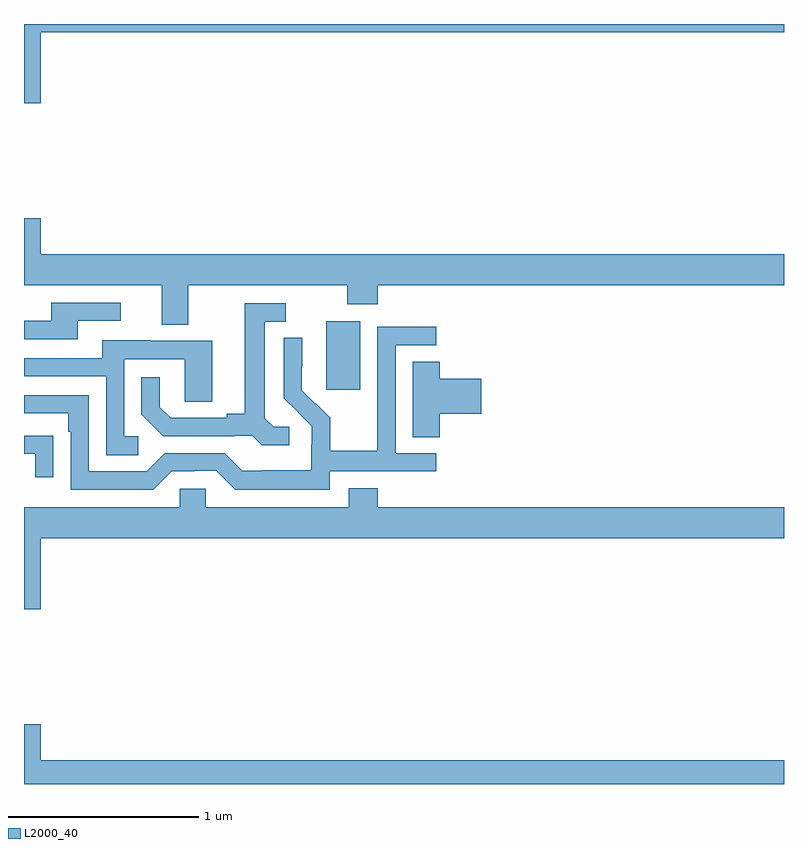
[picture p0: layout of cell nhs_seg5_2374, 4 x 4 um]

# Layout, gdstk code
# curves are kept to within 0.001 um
import gdstk
lib = gdstk.Library(unit=1e-6, precision=1e-09)
def R(c, l, rs):  # rectangles x0, y0, x1, y1
    for r in rs: c.add(gdstk.rectangle(r[:2], r[2:], *l))
def P(c, l, *ps):  # polygons
    for p in ps: c.add(gdstk.Polygon(p, *l))
L2000_40 = (2000, 40)

nhs_seg5_2374 = lib.new_cell('nhs_seg5_2374')
R(nhs_seg5_2374, L2000_40, [(250.592,858.873,250.771,859.234)])
P(nhs_seg5_2374, L2000_40, [(249.088,860.756),(253,860.756),(253,860.799),(249,860.799),(249,860.382),(249.088,860.382)],
  [(249.865,859.424),(250.702,859.424),(250.702,859.325),(250.862,859.325),(250.862,859.424),(253,859.424),(253,859.588),(249.088,859.588),(249.088,859.777),(249,859.777),(249,859.424),(249.725,859.424),(249.725,859.216),(249.865,859.216)],
  [(249.283,859.236),(249.508,859.236),(249.508,859.332),(249.143,859.332),(249.143,859.236),(249,859.236),(249,859.14),(249.283,859.14)],
  [(250.396,858.678),(250.314,858.678),(250.267,858.725),(250.267,859.233),(250.378,859.233),(250.378,859.329),(250.163,859.329),(250.163,858.749),(250.067,858.749),(250.067,858.726),(249.772,858.726),(249.715,858.783),(249.715,858.94),(249.618,858.94),(249.618,858.746),(249.734,858.63),(250.106,858.63),(250.106,858.633),(250.2,858.633),(250.252,858.581),(250.396,858.581)],
  [(250.608,858.444),(251.17,858.444),(251.17,858.54),(250.956,858.54),(250.956,859.107),(251.17,859.107),(251.17,859.206),(250.86,859.206),(250.86,858.776),(250.858,858.776),(250.858,858.553),(250.613,858.553),(250.613,858.727),(250.536,858.804),(250.533,858.801),(250.463,858.872),(250.464,859.148),(250.368,859.148),(250.368,858.83),(250.514,858.682),(250.514,858.585),(250.512,858.585),(250.512,858.451),(250.249,858.451),(250.249,858.447),(250.149,858.447),(250.056,858.54),(249.741,858.54),(249.645,858.444),(249.342,858.444),(249.342,858.846),(249,858.846),(249,858.75),(249.233,858.75),(249.233,858.653),(249.246,858.653),(249.246,858.348),(249.681,858.348),(249.777,858.444),(249.896,858.444),(249.896,858.447),(250.011,858.447),(250.111,858.347),(250.608,858.347)],
  [(249.601,858.63),(249.528,858.63),(249.528,859.035),(249.846,859.035),(249.846,858.811),(249.991,858.811),(249.991,859.131),(249.667,859.131),(249.667,859.135),(249.413,859.135),(249.413,859.041),(249,859.041),(249,858.945),(249.432,858.945),(249.432,858.529),(249.601,858.529)],
  [(251.189,858.749),(251.407,858.749),(251.407,858.932),(251.189,858.932),(251.189,859.022),(251.045,859.022),(251.045,858.625),(251.189,858.625)],
  [(249.155,858.632),(249.053,858.632),(249.053,858.633),(249,858.633),(249,858.537),(249.059,858.537),(249.059,858.414),(249.155,858.414)],
  [(249.088,858.092),(253,858.092),(253,858.256),(250.862,858.256),(250.862,858.355),(250.709,858.355),(250.709,858.256),(249.957,858.256),(249.957,858.354),(249.819,858.354),(249.819,858.256),(249,858.256),(249,857.718),(249.088,857.718)],
  [(253,856.924),(249.088,856.924),(249.088,857.113),(249,857.113),(249,856.799),(253,856.799)])

lib.write_gds('nhs_seg5_2374.gds')
